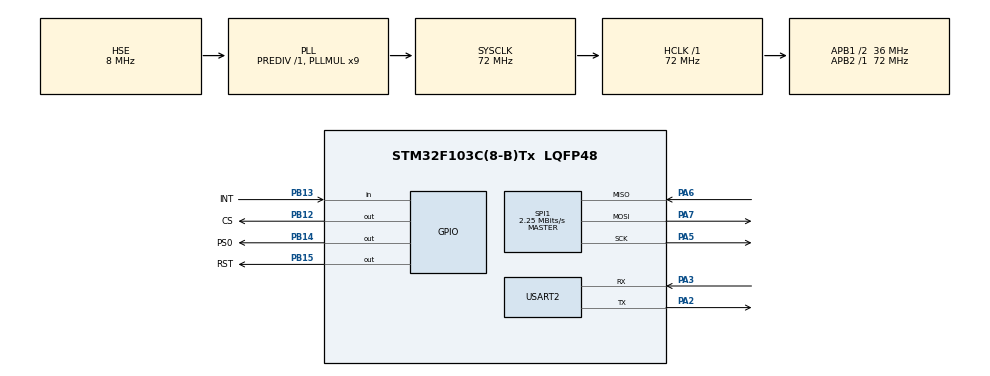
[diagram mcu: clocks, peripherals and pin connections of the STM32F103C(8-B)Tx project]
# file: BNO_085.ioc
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Mcu.Family=STM32F1
Mcu.Name=STM32F103C(8-B)Tx
Mcu.Package=LQFP48
NVIC.PriorityGroup=NVIC_PRIORITYGROUP_4
PA13.Mode=Serial_Wire
PA13.Signal=SYS_JTMS-SWDIO
PA14.Mode=Serial_Wire
PA14.Signal=SYS_JTCK-SWCLK
PA2.Mode=Asynchronous
PA2.Signal=USART2_TX
PA3.Mode=Asynchronous
PA3.Signal=USART2_RX
PA5.Mode=Full_Duplex_Master
PA5.Signal=SPI1_SCK
PA6.Mode=Full_Duplex_Master
PA6.Signal=SPI1_MISO
PA7.Mode=Full_Duplex_Master
PA7.Signal=SPI1_MOSI
PB12.GPIO_Label=CS
PB12.GPIO_Speed=GPIO_SPEED_FREQ_HIGH
PB12.Signal=GPIO_Output
PB13.GPIO_Label=INT
PB13.GPIO_PuPd=GPIO_PULLUP
PB13.Signal=GPIO_Input
PB14.GPIO_Label=PS0
PB14.GPIO_Speed=GPIO_SPEED_FREQ_HIGH
PB14.Signal=GPIO_Output
PB15.GPIO_Label=RST
PB15.GPIO_Speed=GPIO_SPEED_FREQ_HIGH
PB15.Signal=GPIO_Output
PD0-OSC_IN.Mode=HSE-External-Oscillator
PD0-OSC_IN.Signal=RCC_OSC_IN
PD1-OSC_OUT.Mode=HSE-External-Oscillator
PD1-OSC_OUT.Signal=RCC_OSC_OUT
ProjectManager.HeapSize=0x200
ProjectManager.StackSize=0x400
ProjectManager.TargetToolchain=STM32CubeIDE
RCC.AHBFreq_Value=72000000
RCC.APB1CLKDivider=RCC_HCLK_DIV2
RCC.APB1Freq_Value=36000000
RCC.APB1TimFreq_Value=72000000
RCC.APB2Freq_Value=72000000
RCC.APB2TimFreq_Value=72000000
RCC.HCLKFreq_Value=72000000
RCC.HSICalibrationValue=8
RCC.PLLMUL=RCC_PLL_MUL9
RCC.PLLSourceVirtual=RCC_PLLSOURCE_HSE
RCC.SYSCLKFreq_VALUE=72000000
RCC.SYSCLKSource=RCC_SYSCLKSOURCE_PLLCLK
RCC.USBFreq_Value=72000000
SPI1.BaudRatePrescaler=SPI_BAUDRATEPRESCALER_32
SPI1.CLKPhase=SPI_PHASE_2EDGE
SPI1.CLKPolarity=SPI_POLARITY_HIGH
SPI1.CalculateBaudRate=2.25 MBits/s
SPI1.Direction=SPI_DIRECTION_2LINES
SPI1.Mode=SPI_MODE_MASTER
SPI1.VirtualType=VM_MASTER
USART2.VirtualMode=VM_ASYNC
board=custom

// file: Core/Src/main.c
/* USER CODE BEGIN Header */
/**
  ******************************************************************************
  * @file           : main.c
  * @brief          : Main program body
  ******************************************************************************
  * @attention
  *
  * Copyright (c) 2023 STMicroelectronics.
  * All rights reserved.
  *
  * This software is licensed under terms that can be found in the LICENSE file
  * in the root directory of this software component.
  * If no LICENSE file comes with this software, it is provided AS-IS.
  *
  ******************************************************************************
  */
/* USER CODE END Header */
#include "main.h"

/* USER CODE BEGIN Includes */
#include "BNO080.h"
#include "Quaternion.h"
/* USER CODE END Includes */

/* USER CODE BEGIN PTD */
#define PUTCHAR_PROTOTYPE int __io_putchar(int ch)
/* USER CODE END PTD */

UART_HandleTypeDef huart2;

void SystemClock_Config(void);
static void MX_GPIO_Init(void);
static void MX_SPI1_Init(void);
static void MX_USART2_UART_Init(void);

int main(void)
{
  /* USER CODE BEGIN 1 */
	float q[4];
	float quatRadianAccuracy;
  /* USER CODE END 1 */

  /* MCU Configuration--------------------------------------------------------*/

  /* Reset of all peripherals, Initializes the Flash interface and the Systick. */
  HAL_Init();

  /* Configure the system clock */
  SystemClock_Config();

  /* Initialize all configured peripherals */
  MX_GPIO_Init();
  MX_SPI1_Init();
  MX_USART2_UART_Init();
  /* USER CODE BEGIN 2 */
  BNO080_Initialization();
  BNO080_enableRotationVector(2500);
  /* USER CODE END 2 */

  /* Infinite loop */
  while (1)
  {

    /* USER CODE BEGIN 3 */
	  if(BNO080_dataAvailable() == 1)
	  {
		  q[0] = BNO080_getQuatI();
		  q[1] = BNO080_getQuatJ();
		  q[2] = BNO080_getQuatK();
		  q[3] = BNO080_getQuatReal();
		  quatRadianAccuracy = BNO080_getQuatRadianAccuracy();

		  Quaternion_Update(&q[0]);

		  printf("%d,%d,%d\n", (int)(BNO080_Roll*100), (int)(BNO080_Pitch*100), (int)(BNO080_Yaw*100)); //print roll, pitch, yaw in degree
	  }
  }
  /* USER CODE END 3 */
}

void SystemClock_Config(void)
{
  RCC_OscInitTypeDef RCC_OscInitStruct = {0};
  RCC_ClkInitTypeDef RCC_ClkInitStruct = {0};

  /** Initializes the RCC Oscillators according to the specified parameters
  * in the RCC_OscInitTypeDef structure.
  */
  RCC_OscInitStruct.OscillatorType = RCC_OSCILLATORTYPE_HSE;
  RCC_OscInitStruct.HSEState = RCC_HSE_ON;
  RCC_OscInitStruct.HSEPredivValue = RCC_HSE_PREDIV_DIV1;
  RCC_OscInitStruct.HSIState = RCC_HSI_ON;
  RCC_OscInitStruct.PLL.PLLState = RCC_PLL_ON;
  RCC_OscInitStruct.PLL.PLLSource = RCC_PLLSOURCE_HSE;
  RCC_OscInitStruct.PLL.PLLMUL = RCC_PLL_MUL9;
  if (HAL_RCC_OscConfig(&RCC_OscInitStruct) != HAL_OK)
  {
    Error_Handler();
  }

  /** Initializes the CPU, AHB and APB buses clocks
  */
  RCC_ClkInitStruct.ClockType = RCC_CLOCKTYPE_HCLK|RCC_CLOCKTYPE_SYSCLK
                              |RCC_CLOCKTYPE_PCLK1|RCC_CLOCKTYPE_PCLK2;
  RCC_ClkInitStruct.SYSCLKSource = RCC_SYSCLKSOURCE_PLLCLK;
  RCC_ClkInitStruct.AHBCLKDivider = RCC_SYSCLK_DIV1;
  RCC_ClkInitStruct.APB1CLKDivider = RCC_HCLK_DIV2;
  RCC_ClkInitStruct.APB2CLKDivider = RCC_HCLK_DIV1;

  if (HAL_RCC_ClockConfig(&RCC_ClkInitStruct, FLASH_LATENCY_2) != HAL_OK)
  {
    Error_Handler();
  }
}

static void MX_SPI1_Init(void)
{

  LL_SPI_InitTypeDef SPI_InitStruct = {0};

  LL_GPIO_InitTypeDef GPIO_InitStruct = {0};

  /* Peripheral clock enable */
  LL_APB2_GRP1_EnableClock(LL_APB2_GRP1_PERIPH_SPI1);

  LL_APB2_GRP1_EnableClock(LL_APB2_GRP1_PERIPH_GPIOA);
  /**SPI1 GPIO Configuration
  PA5   ------> SPI1_SCK
  PA6   ------> SPI1_MISO
  PA7   ------> SPI1_MOSI
  */
  GPIO_InitStruct.Pin = LL_GPIO_PIN_5|LL_GPIO_PIN_7;
  GPIO_InitStruct.Mode = LL_GPIO_MODE_ALTERNATE;
  GPIO_InitStruct.Speed = LL_GPIO_SPEED_FREQ_HIGH;
  GPIO_InitStruct.OutputType = LL_GPIO_OUTPUT_PUSHPULL;
  LL_GPIO_Init(GPIOA, &GPIO_InitStruct);

  GPIO_InitStruct.Pin = LL_GPIO_PIN_6;
  GPIO_InitStruct.Mode = LL_GPIO_MODE_FLOATING;
  LL_GPIO_Init(GPIOA, &GPIO_InitStruct);

  /* SPI1 parameter configuration*/
  SPI_InitStruct.TransferDirection = LL_SPI_FULL_DUPLEX;
  SPI_InitStruct.Mode = LL_SPI_MODE_MASTER;
  SPI_InitStruct.DataWidth = LL_SPI_DATAWIDTH_8BIT;
  SPI_InitStruct.ClockPolarity = LL_SPI_POLARITY_HIGH;
  SPI_InitStruct.ClockPhase = LL_SPI_PHASE_2EDGE;
  SPI_InitStruct.NSS = LL_SPI_NSS_SOFT;
  SPI_InitStruct.BaudRate = LL_SPI_BAUDRATEPRESCALER_DIV32;
  SPI_InitStruct.BitOrder = LL_SPI_MSB_FIRST;
  SPI_InitStruct.CRCCalculation = LL_SPI_CRCCALCULATION_DISABLE;
  SPI_InitStruct.CRCPoly = 10;
  LL_SPI_Init(SPI1, &SPI_InitStruct);

}

static void MX_USART2_UART_Init(void)
{

  huart2.Instance = USART2;
  huart2.Init.BaudRate = 115200;
  huart2.Init.WordLength = UART_WORDLENGTH_8B;
  huart2.Init.StopBits = UART_STOPBITS_1;
  huart2.Init.Parity = UART_PARITY_NONE;
  huart2.Init.Mode = UART_MODE_TX_RX;
  huart2.Init.HwFlowCtl = UART_HWCONTROL_NONE;
  huart2.Init.OverSampling = UART_OVERSAMPLING_16;
  if (HAL_UART_Init(&huart2) != HAL_OK)
  {
    Error_Handler();
  }

}

static void MX_GPIO_Init(void)
{
  LL_GPIO_InitTypeDef GPIO_InitStruct = {0};

  /* GPIO Ports Clock Enable */
  LL_APB2_GRP1_EnableClock(LL_APB2_GRP1_PERIPH_GPIOD);
  LL_APB2_GRP1_EnableClock(LL_APB2_GRP1_PERIPH_GPIOA);
  LL_APB2_GRP1_EnableClock(LL_APB2_GRP1_PERIPH_GPIOB);

  /**/
  LL_GPIO_ResetOutputPin(GPIOB, CS_Pin|PS0_Pin|RST_Pin);

  /**/
  GPIO_InitStruct.Pin = CS_Pin|PS0_Pin|RST_Pin;
  GPIO_InitStruct.Mode = LL_GPIO_MODE_OUTPUT;
  GPIO_InitStruct.Speed = LL_GPIO_SPEED_FREQ_HIGH;
  GPIO_InitStruct.OutputType = LL_GPIO_OUTPUT_PUSHPULL;
  LL_GPIO_Init(GPIOB, &GPIO_InitStruct);

  /**/
  GPIO_InitStruct.Pin = INT_Pin;
  GPIO_InitStruct.Mode = LL_GPIO_MODE_INPUT;
  GPIO_InitStruct.Pull = LL_GPIO_PULL_UP;
  LL_GPIO_Init(INT_GPIO_Port, &GPIO_InitStruct);

}

/* USER CODE BEGIN 4 */
PUTCHAR_PROTOTYPE
{
  /* Place your implementation of fputc here */
  /* e.g. write a character to the USART1 and Loop until the end of transmission */
  HAL_UART_Transmit(&huart2, (uint8_t *)&ch, 1, 0xFFFF);

  return ch;
}
/* USER CODE END 4 */

void Error_Handler(void)
{
  __disable_irq();
  while (1)
  {
  }
}
